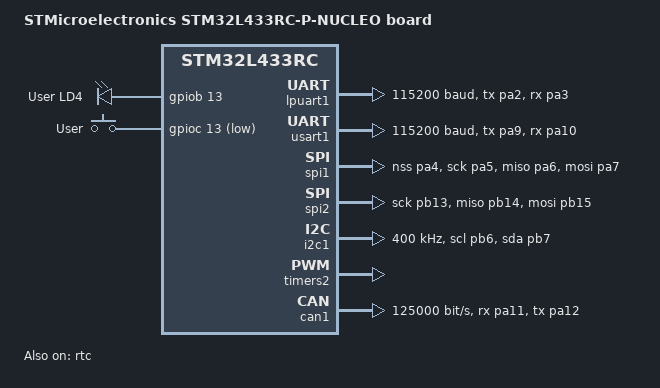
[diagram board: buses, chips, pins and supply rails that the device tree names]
/*
 * Copyright (c) 2021 Matija Tudan
 *
 * SPDX-License-Identifier: Apache-2.0
 */

/dts-v1/;
#include <st/l4/stm32l433Xc.dtsi>
#include <st/l4/stm32l433rctxp-pinctrl.dtsi>
#include "arduino_r3_connector.dtsi"

/ {
	model = "STMicroelectronics STM32L433RC-P-NUCLEO board";
	compatible = "st,stm32l433rc-p-nucleo";

	chosen {
		zephyr,console = &lpuart1;
		zephyr,shell-uart = &lpuart1;
		zephyr,sram = &sram0;
		zephyr,flash = &flash0;
		zephyr,canbus = &can1;
	};

	leds {
		compatible = "gpio-leds";
		green_led: led_0 {
			gpios = <&gpiob 13 GPIO_ACTIVE_HIGH>;
			label = "User LD4";
		};
	};

	gpio_keys {
		compatible = "gpio-keys";
		user_button: button {
			gpios = <&gpioc 13 GPIO_ACTIVE_LOW>;
			label = "User";
		};
	};

	aliases {
		led0 = &green_led;
		sw0 = &user_button;
	};
};

&clk_lsi {
	status = "okay";
};

&clk_hsi {
	status = "okay";
};

&pll {
	div-m = <1>;
	mul-n = <20>;
	div-p = <7>;
	div-q = <2>;
	div-r = <4>;
	clocks = <&clk_hsi>;
	status = "okay";
};

&rcc {
	clocks = <&pll>;
	clock-frequency = <DT_FREQ_M(80)>;
	ahb-prescaler = <1>;
	apb1-prescaler = <1>;
	apb2-prescaler = <1>;
};

&lpuart1 {
	pinctrl-0 = <&lpuart1_tx_pa2 &lpuart1_rx_pa3>;
	pinctrl-names = "default";
	current-speed = <115200>;
	status = "okay";
};

&usart1 {
	pinctrl-0 = <&usart1_tx_pa9 &usart1_rx_pa10>;
	pinctrl-names = "default";
	current-speed = <115200>;
};

&spi1 {
	pinctrl-0 = <&spi1_nss_pa4 &spi1_sck_pa5
		     &spi1_miso_pa6 &spi1_mosi_pa7>;
	pinctrl-names = "default";
	status = "okay";
};

&spi2 {
	pinctrl-0 = <&spi2_sck_pb13 &spi2_miso_pb14 &spi2_mosi_pb15>;
	pinctrl-names = "default";
	cs-gpios = <&gpioa 11 (GPIO_ACTIVE_LOW | GPIO_PULL_UP)>;
	status = "okay";
};

&i2c1 {
	pinctrl-0 = <&i2c1_scl_pb6 &i2c1_sda_pb7>;
	pinctrl-names = "default";
	clock-frequency = <I2C_BITRATE_FAST>;
	status = "okay";
};

&timers2 {
	status = "okay";

	pwm2: pwm {
		status = "okay";
		pinctrl-0 = <&tim2_ch1_pa0>;
		pinctrl-names = "default";
	};
};

&can1 {
	pinctrl-0 = <&can1_rx_pa11 &can1_tx_pa12>;
	pinctrl-names = "default";
	bus-speed = <125000>;
	status = "okay";
};

&rtc {
	clocks = <&rcc STM32_CLOCK_BUS_APB1 0x10000000>,
		 <&rcc STM32_SRC_LSI RTC_SEL(2)>;
	status = "okay";
};

&flash0 {
	partitions {
		compatible = "fixed-partitions";
		#address-cells = <1>;
		#size-cells = <1>;

		/*
		 * Reserve the final 16 KiB for file system partition
		 */
		storage_partition: partition@3c000 {
			label = "storage";
			reg = <0x0003c000 DT_SIZE_K(16)>;
		};
	};
};
